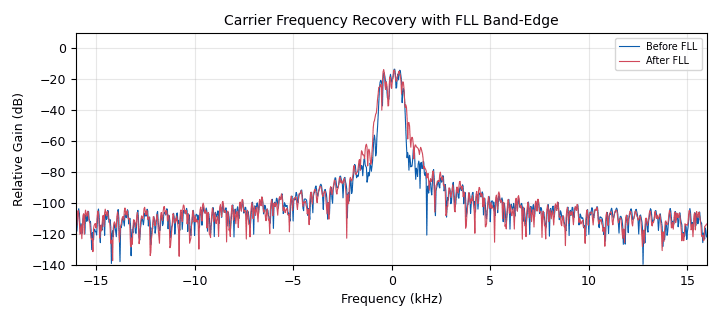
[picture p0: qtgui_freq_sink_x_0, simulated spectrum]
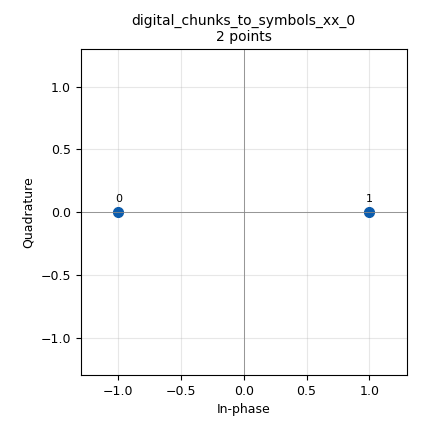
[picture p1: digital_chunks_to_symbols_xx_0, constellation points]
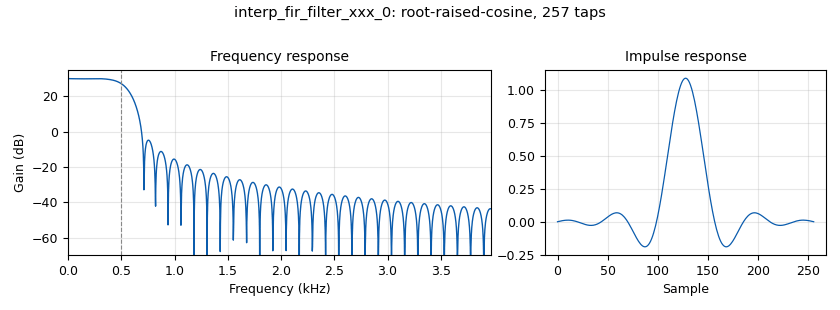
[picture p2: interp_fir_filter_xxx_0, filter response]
options:
  parameters:
    generate_options: qt_gui
    id: exp11
    output_language: python
    title: Carrier Frequency Recovery with FLL Band-Edge
  states: {}

blocks:
- name: alpha
  id: variable
  parameters:
    value: '0.35'
  states: {}
- name: carrier_freq
  id: variable
  parameters:
    value: '1000'
  states: {}
- name: freq_offset
  id: variable_qtgui_range
  parameters:
    label: Carrier Frequency Offset (Hz)
    start: '-10000'
    step: '1000'
    stop: '10000'
    value: '0'
  states: {}
- name: ntaps
  id: variable
  parameters:
    value: span * sps + 1
  states: {}
- name: samp_rate
  id: variable
  parameters:
    value: '32000'
  states: {}
- name: span
  id: variable
  parameters:
    value: '8'
  states: {}
- name: sps
  id: variable
  parameters:
    value: int(samp_rate / symbol_rate)
  states: {}
- name: symbol_rate
  id: variable
  parameters:
    value: '1000'
  states: {}
- name: analog_random_source_x_0
  id: analog_random_source_x
  parameters:
    max: '2'
    min: '0'
    num_samps: '1000'
    repeat: 'True'
    type: byte
  states: {}
- name: analog_random_source_x_0_0
  id: analog_random_source_x
  parameters:
    max: '2'
    min: '0'
    num_samps: '1000'
    repeat: 'True'
    type: byte
  states: {}
- name: analog_sig_source_x_0
  id: analog_sig_source_x
  parameters:
    amp: '1'
    freq: freq_offset
    offset: '0'
    phase: '0'
    samp_rate: samp_rate
    type: complex
    waveform: analog.GR_COS_WAVE
  states: {}
- name: blocks_float_to_complex_0
  id: blocks_float_to_complex
  parameters: {}
  states: {}
- name: blocks_multiply_xx_0
  id: blocks_multiply_xx
  parameters:
    type: complex
  states: {}
- name: blocks_throttle2_0
  id: blocks_throttle2
  parameters:
    samples_per_second: samp_rate
    type: complex
  states: {}
- name: digital_chunks_to_symbols_xx_0
  id: digital_chunks_to_symbols_xx
  parameters:
    dimension: '1'
    in_type: byte
    out_type: float
    symbol_table: '[-1,1]'
  states: {}
- name: digital_chunks_to_symbols_xx_0_0
  id: digital_chunks_to_symbols_xx
  parameters:
    dimension: '1'
    in_type: byte
    out_type: float
    symbol_table: '[-1,1]'
  states: {}
- name: digital_fll_band_edge_cc_0
  id: digital_fll_band_edge_cc
  parameters:
    filter_size: '45'
    rolloff: '0.35'
    samps_per_sym: '32'
    type: cc
    w: 2*math.pi/100
  states: {state: disabled}
- name: digital_fll_band_edge_cc_1
  id: digital_fll_band_edge_cc
  parameters:
    filter_size: '45'
    rolloff: '0.35'
    samps_per_sym: sps
    type: cc
    w: 2*math.pi/1000
  states: {}
- name: import_0
  id: import
  parameters:
    imports: import math
  states: {}
- name: interp_fir_filter_xxx_0
  id: interp_fir_filter_xxx
  parameters:
    interp: sps
    taps: firdes.root_raised_cosine(sps, samp_rate, symbol_rate, alpha, ntaps)
    type: ccf
  states: {}
- name: qtgui_freq_sink_x_0
  id: qtgui_freq_sink_x
  parameters:
    bw: samp_rate
    fc: '0'
    fftsize: '1024'
    label1: Before FLL
    label2: After FLL
    name: Carrier Frequency Recovery with FLL Band-Edge
    nconnections: '2'
    type: complex
  states: {}

connections:
- [analog_random_source_x_0, '0', digital_chunks_to_symbols_xx_0, '0']
- [analog_random_source_x_0_0, '0', digital_chunks_to_symbols_xx_0_0, '0']
- [analog_sig_source_x_0, '0', blocks_multiply_xx_0, '1']
- [blocks_float_to_complex_0, '0', interp_fir_filter_xxx_0, '0']
- [blocks_multiply_xx_0, '0', digital_fll_band_edge_cc_0, '0']
- [blocks_multiply_xx_0, '0', digital_fll_band_edge_cc_1, '0']
- [blocks_multiply_xx_0, '0', qtgui_freq_sink_x_0, '0']
- [blocks_throttle2_0, '0', blocks_multiply_xx_0, '0']
- [digital_chunks_to_symbols_xx_0, '0', blocks_float_to_complex_0, '0']
- [digital_chunks_to_symbols_xx_0_0, '0', blocks_float_to_complex_0, '1']
- [digital_fll_band_edge_cc_1, '0', qtgui_freq_sink_x_0, '1']
- [interp_fir_filter_xxx_0, '0', blocks_throttle2_0, '0']

metadata:
  file_format: 1
  grc_version: 3.10.12.0
